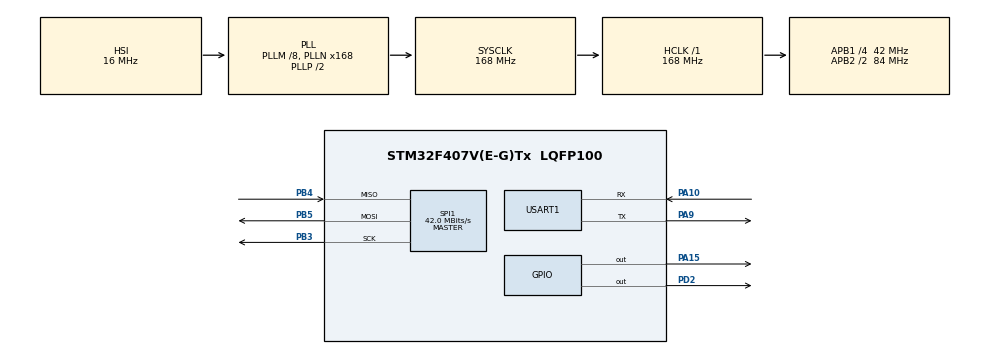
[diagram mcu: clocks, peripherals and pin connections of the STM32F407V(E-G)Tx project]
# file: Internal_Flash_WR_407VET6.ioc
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Dma.Request0=SPI1_TX
Dma.Request1=SPI1_RX
Dma.Request2=USART1_TX
Dma.SPI1_RX.1.Direction=DMA_PERIPH_TO_MEMORY
Dma.SPI1_RX.1.FIFOMode=DMA_FIFOMODE_DISABLE
Dma.SPI1_RX.1.Instance=DMA2_Stream0
Dma.SPI1_RX.1.MemDataAlignment=DMA_MDATAALIGN_BYTE
Dma.SPI1_RX.1.MemInc=DMA_MINC_ENABLE
Dma.SPI1_RX.1.Mode=DMA_NORMAL
Dma.SPI1_RX.1.PeriphDataAlignment=DMA_PDATAALIGN_BYTE
Dma.SPI1_RX.1.PeriphInc=DMA_PINC_DISABLE
Dma.SPI1_RX.1.Priority=DMA_PRIORITY_LOW
Dma.SPI1_TX.0.Direction=DMA_MEMORY_TO_PERIPH
Dma.SPI1_TX.0.FIFOMode=DMA_FIFOMODE_DISABLE
Dma.SPI1_TX.0.Instance=DMA2_Stream3
Dma.SPI1_TX.0.MemDataAlignment=DMA_MDATAALIGN_BYTE
Dma.SPI1_TX.0.MemInc=DMA_MINC_ENABLE
Dma.SPI1_TX.0.Mode=DMA_NORMAL
Dma.SPI1_TX.0.PeriphDataAlignment=DMA_PDATAALIGN_BYTE
Dma.SPI1_TX.0.PeriphInc=DMA_PINC_DISABLE
Dma.SPI1_TX.0.Priority=DMA_PRIORITY_LOW
Dma.USART1_TX.2.Direction=DMA_MEMORY_TO_PERIPH
Dma.USART1_TX.2.FIFOMode=DMA_FIFOMODE_DISABLE
Dma.USART1_TX.2.Instance=DMA2_Stream7
Dma.USART1_TX.2.MemDataAlignment=DMA_MDATAALIGN_BYTE
Dma.USART1_TX.2.MemInc=DMA_MINC_ENABLE
Dma.USART1_TX.2.Mode=DMA_NORMAL
Dma.USART1_TX.2.PeriphDataAlignment=DMA_PDATAALIGN_BYTE
Dma.USART1_TX.2.PeriphInc=DMA_PINC_DISABLE
Dma.USART1_TX.2.Priority=DMA_PRIORITY_LOW
Mcu.Family=STM32F4
Mcu.Name=STM32F407V(E-G)Tx
Mcu.Package=LQFP100
NVIC.DMA2_Stream0_IRQn=true\:0\:0\:false\:false\:true\:false\:true\:true
NVIC.DMA2_Stream3_IRQn=true\:0\:0\:false\:false\:true\:false\:true\:true
NVIC.DMA2_Stream7_IRQn=true\:0\:0\:false\:false\:true\:false\:true\:true
NVIC.PriorityGroup=NVIC_PRIORITYGROUP_4
NVIC.TIM1_UP_TIM10_IRQn=true\:0\:0\:false\:false\:true\:true\:true\:true
NVIC.USART1_IRQn=true\:0\:0\:false\:false\:true\:true\:true\:true
PA10.Mode=Asynchronous
PA10.Signal=USART1_RX
PA13.Mode=Serial_Wire
PA13.Signal=SYS_JTMS-SWDIO
PA14.Mode=Serial_Wire
PA14.Signal=SYS_JTCK-SWCLK
PA15.Signal=GPIO_Output
PA9.Mode=Asynchronous
PA9.Signal=USART1_TX
PB3.Mode=Full_Duplex_Master
PB3.Signal=SPI1_SCK
PB4.Mode=Full_Duplex_Master
PB4.Signal=SPI1_MISO
PB5.Mode=Full_Duplex_Master
PB5.Signal=SPI1_MOSI
PD2.Signal=GPIO_Output
PH0-OSC_IN.Mode=HSE-External-Oscillator
PH0-OSC_IN.Signal=RCC_OSC_IN
PH1-OSC_OUT.Mode=HSE-External-Oscillator
PH1-OSC_OUT.Signal=RCC_OSC_OUT
ProjectManager.HeapSize=0x200
ProjectManager.StackSize=0x400
ProjectManager.TargetToolchain=MDK-ARM V5.32
RCC.48MHZClocksFreq_Value=84000000
RCC.AHBFreq_Value=168000000
RCC.APB1CLKDivider=RCC_HCLK_DIV4
RCC.APB1Freq_Value=42000000
RCC.APB1TimFreq_Value=84000000
RCC.APB2CLKDivider=RCC_HCLK_DIV2
RCC.APB2Freq_Value=84000000
RCC.APB2TimFreq_Value=168000000
RCC.CortexFreq_Value=168000000
RCC.HCLKFreq_Value=168000000
RCC.HSE_VALUE=8000000
RCC.HSI_VALUE=16000000
RCC.LSE_VALUE=32768
RCC.PLLM=8
RCC.PLLN=168
RCC.SYSCLKFreq_VALUE=168000000
RCC.SYSCLKSource=RCC_SYSCLKSOURCE_PLLCLK
RCC.VCOOutputFreq_Value=336000000
SPI1.CalculateBaudRate=42.0 MBits/s
SPI1.Direction=SPI_DIRECTION_2LINES
SPI1.Mode=SPI_MODE_MASTER
SPI1.VirtualType=VM_MASTER
TIM1.Period=2000-1
TIM1.Prescaler=42000-1
USART1.VirtualMode=VM_ASYNC
VP_TIM1_VS_ClockSourceINT.Mode=Internal
board=custom

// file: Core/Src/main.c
/* USER CODE BEGIN Header */
/**
  ******************************************************************************
  * @file           : main.c
  * @brief          : Main program body
  ******************************************************************************
  * @attention
  *
  * Copyright (c) 2023 STMicroelectronics.
  * All rights reserved.
  *
  * This software is licensed under terms that can be found in the LICENSE file
  * in the root directory of this software component.
  * If no LICENSE file comes with this software, it is provided AS-IS.
  *
  ******************************************************************************
  */
/* USER CODE END Header */
#include "main.h"
#include "dma.h"
#include "spi.h"
#include "tim.h"
#include "usart.h"
#include "gpio.h"

/* USER CODE BEGIN Includes */
#include "w25Q16.h"
#include "stdio.h"
#include "flashrw.h"
#include "uppercmd.h"
int fputc(int ch, FILE *f)
{
	HAL_UART_Transmit(&huart1,(uint8_t*)&ch,1,10);
	return ch;
}
//int fputc(int ch, FILE *f)
//{
//	HAL_UART_Transmit(&huart1,(uint8_t*)&ch,1,10);
//	return ch;
//}

/* USER CODE END Includes */

void SystemClock_Config(void);

/* USER CODE BEGIN 0 */

uint8_t buffer1[256]={0};
uint8_t buffer2[256]={0};
motorData data1;
motorData data2;
motorData data3;
motorData data4;
motorData data5;

//uint8_t flag=0;
int ccc[256] ={0};
int ccc1[256] ={0};
uint16_t a=0;
uint8_t testbuffer[256]={0};
uint8_t testbuffer1[256]={0};
/*
void SPI1_DMA_TX_CpltCallback( struct __DMA_HandleTypeDef * hdma);
uint32_t 	W25QXXSector=0x00000000;
uint8_t		If_LastRecorded=1;
void writepage(uint32_t addr  , uint8_t * a )
{
	flag=0;
	W25QXX_Write_Enable();
	HAL_GPIO_WritePin(GPIOA,GPIO_PIN_15,GPIO_PIN_RESET);
	SPI1_ReadWriteByte((uint8_t)W25X_PageProgram);
	SPI1_ReadWriteByte((uint8_t)addr>>16);
	SPI1_ReadWriteByte((uint8_t)addr>>8);
	SPI1_ReadWriteByte((uint8_t)0x00);
	HAL_SPI_TransmitReceive_DMA(&hspi1 ,a ,aaa1 ,256 );
}
void DMA2_Stream3_IRQHandler()
{
	HAL_DMA_IRQHandler(&hdma_spi1_tx);
	if(__HAL_DMA_GET_IT_SOURCE(&hdma_spi1_rx, DMA_IT_TC)){
		W25QXX_Wait_Busy();
		W25QXX_Erase_Sector(W25QXXSector);
		HAL_GPIO_WritePin(GPIOA, GPIO_PIN_15, GPIO_PIN_SET);
  }
}

uint8_t* Thanslate(motorData* data1 , uint8_t* buffer ,uint8_t number)
{
	buffer[47*number+1]=data1->run_state;
	buffer[47*number+2]=data1->dir;
	buffer[47*number+3]=data1->number;

		buffer[47*number+4]=data1->step_position%0x100;
		buffer[47*number+5]=(data1->step_position%0x10000)>>8;
		buffer[47*number+6]=(data1->step_position%0x1000000)>>16;
		buffer[47*number+7]=(data1->step_position>>24);

	buffer[47*number+8]=data1->motion_sta;

		buffer[47*number+9]=data1->g_add_pulse_count%0xff;
		buffer[47*number+10]=(data1->g_add_pulse_count%0xffff)>>8;
		buffer[47*number+11]=(data1->g_add_pulse_count%0x1000000)>>16;
		buffer[47*number+12]=(data1->g_add_pulse_count>>24);

		buffer[47*number+13]=data1->step_delay%0x100;
		buffer[47*number+14]=(data1->step_delay%0x10000)>>8;
		buffer[47*number+15]=(data1->step_delay%0x1000000)>>16;
		buffer[47*number+16]=(data1->step_delay>>24);

		buffer[47*number+17]=data1->decel_start%0x100;
		buffer[47*number+18]=(data1->decel_start%0x10000)>>8;
		buffer[47*number+19]=(data1->decel_start%0x1000000)>>16;
		buffer[47*number+20]=(data1->decel_start>>24);

		buffer[47*number+21]=data1->decel_val%0x100;
		buffer[47*number+22]=(data1->decel_val%0x10000)>>8;
		buffer[47*number+23]=(data1->decel_val%0x1000000)>>16;
		buffer[47*number+24]=(data1->decel_val>>24);

		buffer[47*number+25]=data1->accel_count%0x100;
		buffer[47*number+26]=(data1->accel_count%0x10000)>>8;
		buffer[47*number+27]=(data1->accel_count%0x1000000)>>16;
		buffer[47*number+28]=(data1->accel_count>>24);

		buffer[47*number+29]=data1->round_amp%0x100;
		buffer[47*number+30]=(data1->round_amp%0x10000)>>8;
		buffer[47*number+31]=(data1->round_amp%0x1000000)>>16;
		buffer[47*number+32]=(data1->round_amp>>24);

		buffer[47*number+33]=(data1->round_step%0x100);
		buffer[47*number+34]=(data1->round_step%0x10000)>>8;
		buffer[47*number+35]=(data1->round_step%0x1000000)>>16;
		buffer[47*number+36]=(data1->round_step>>24);

	buffer[47*number+37]=data1->last_accel_delay%0x100;
	buffer[47*number+38]=data1->last_accel_delay/0xff;

		buffer[47*number+39]=data1->step_count%0x100;
		buffer[47*number+40]=(data1->step_count%0x10000)>>8;
		buffer[47*number+41]=(data1->step_count%0x1000000)>>16;
		buffer[47*number+42]=(data1->step_count>>24);

		buffer[47*number+43]=data1->rest%0x100;
		buffer[47*number+44]=(data1->rest%0x10000)>>8;
		buffer[47*number+45]=(data1->rest%0x1000000)>>16;
		buffer[47*number+46]=(data1->rest>>24);

	buffer[47*number+47]=data1->int_count;
	return buffer;
}
uint8_t* Translation(motorData* data1 , uint8_t* buffer ,uint8_t number)
{
	data1->run_state=buffer[47*number+1];
	data1->dir=buffer[47*number+2];
	data1->number=buffer[47*number+3];

		data1->step_position=buffer[47*number+4];
		data1->step_position+=buffer[47*number+5]<<8;
		data1->step_position+=buffer[47*number+6]<<16;
		data1->step_position+=buffer[47*number+7]<<24;

	data1->motion_sta=buffer[47*number+8];

		data1->g_add_pulse_count=buffer[47*number+9];
		data1->g_add_pulse_count+=buffer[47*number+10]<<8;
		data1->g_add_pulse_count+=buffer[47*number+11]<<16;
		data1->g_add_pulse_count+=buffer[47*number+12]<<24;

		data1->step_delay=buffer[47*number+13];
		data1->step_delay+=buffer[47*number+14]<<8;
		data1->step_delay+=buffer[47*number+15]<<16;
		data1->step_delay+=buffer[47*number+16]<<24;

		data1->decel_start=buffer[47*number+17];
		data1->decel_start+=buffer[47*number+18]<<8;
		data1->decel_start+=buffer[47*number+19]<<16;
		data1->decel_start+=buffer[47*number+20]<<24;

		data1->decel_val=buffer[47*number+21];
		data1->decel_val+=buffer[47*number+22]<<8;
		data1->decel_val+=buffer[47*number+23]<<16;
		data1->decel_val+=buffer[47*number+24]<<24;

		data1->accel_count=buffer[47*number+25];
		data1->accel_count+=buffer[47*number+26]<<8;
		data1->accel_count+=buffer[47*number+27]<<16;
		data1->accel_count+=buffer[47*number+28]<<24;

		data1->round_amp=buffer[47*number+29];
		data1->round_amp+=buffer[47*number+30]<<8;
		data1->round_amp+=buffer[47*number+31]<<16;
		data1->round_amp+=buffer[47*number+32]<<24;

		data1->round_step=buffer[47*number+33];
		data1->round_step+=buffer[47*number+34]<<8;
		data1->round_step+=buffer[47*number+35]<<16;
		data1->round_step+=buffer[47*number+36]<<24;

	data1->last_accel_delay=buffer[47*number+37];
	data1->last_accel_delay+=buffer[47*number+38]<<8;

		data1->step_count=buffer[47*number+39];
		data1->step_count+=buffer[47*number+40]<<8;
		data1->step_count+=buffer[47*number+41]<<16;
		data1->step_count+=buffer[47*number+42]<<24;

		data1->rest=buffer[47*number+43];
		data1->rest+=buffer[47*number+44]<<8;
		data1->rest+=buffer[47*number+45]<<16;
		data1->rest+=buffer[47*number+46]<<24;

data1->int_count =	buffer[47*number+47];
	return buffer;
}

void SaveData(motorData* M1 ,motorData* M2 , motorData* M3 , motorData* M4 , motorData* M5 , uint8_t* buffer)
{
		Thanslate(M1 , buffer ,0);
		Thanslate(M2 , buffer ,1);
		Thanslate(M3 , buffer ,2);
		Thanslate(M4 , buffer ,3);
		Thanslate(M5 , buffer ,4);
		buffer[255]=0x01;
		W25QXX_Wait_Busy();
		writepage(W25QXXSector , buffer);
		if(W25QXXSector)
		{
			W25QXXSector=0;
		}
		else
		{
			W25QXXSector=0x00000100;
		}
}

void  GetData(motorData* M1 ,motorData* M2 , motorData* M3 , motorData* M4 , motorData* M5 , uint8_t* buffer)
{
	W25QXX_Wait_Busy();
	W25QXX_Read(buffer , 0x00000000 , 256);
	if(buffer[255]==0x01)
	{
		W25QXXSector=0x00000100;//从另一扇开始写
	}
	else
	{
		W25QXX_Read(buffer , 0x00000100 , 256);
		if(buffer[255]!=0x01)
		{
			If_LastRecorded=0;
		}
		W25QXXSector=0x00000000;//从这一扇开始写
	}
	if(If_LastRecorded)//之前有记录，否则不会记录
	{
		Translation(M1 , buffer , 0);
		Translation(M2 , buffer , 1);
		Translation(M3 , buffer , 2);
		Translation(M4 , buffer , 3);
		Translation(M5 , buffer , 4);
	}
}

*/
//----------------------------------------------------------------------------//

/* USER CODE END 0 */

int main(void)
{

  /* MCU Configuration--------------------------------------------------------*/

  /* Reset of all peripherals, Initializes the Flash interface and the Systick. */
  HAL_Init();

  /* Configure the system clock */
  SystemClock_Config();

  /* Initialize all configured peripherals */
  MX_GPIO_Init();
  MX_USART1_UART_Init();
  MX_DMA_Init();
  MX_SPI1_Init();
  MX_TIM1_Init();
  /* USER CODE BEGIN 2 */
	HAL_TIM_Base_Start_IT(&htim1);
	data1.accel_count=10;
	data1.decel_start=1;
	data1.decel_val =2;
	data1.dir =3;
	data1.g_add_pulse_count =100;
	data1.int_count =10;
	data1.min_delay =30;
	data1.step_delay =22;
	data1.decel_val=-10;
	data1.int_count=0xf2;
	data1.round_amp=0xef;
	data1.round_step=0xaf;
	data1.last_accel_delay=0xfa;
	data1.run_state=0x33;

	UpperInit();

  /* USER CODE END 2 */

  /* Infinite loop */
  /* USER CODE BEGIN WHILE */

	float aa=1.4143;
	float bb=1.4423;
	float c=0;
	long int i=0;

	W25QXX_Erase_Chip();
//	W25QXX_Erase_Sector(0x00000000);
//W25QXX_Erase_Sector(0x00000100);

//	writepage(0,0,(uint8_t*)(&data1));

	SaveData((&data1) ,(&data1) ,(&data1) ,(&data1) ,(&data1) ,buffer1);

	HAL_Delay(1000);
	//W25QXX_Wait_Busy();
	GetData((&data1) ,(&data2) ,(&data3) ,(&data4) ,(&data5) ,buffer2);
	printf("\r\n");
	for(int i=0 ;i<5 ; i++)
	{
		for(int j=0 ; j<47 ;j++)
		{
			printf("%.2x" , *(buffer1+47*i+j));	printf("  ");
		}
		printf("\r\n");
	}
		printf("\r\n");
		printf("\r\n");
		printf("\r\n");
	for(int i=0 ;i<5 ; i++)
	{
		for(int j=0 ; j<47 ;j++)
		{
			printf("%.2x" , *(buffer2+47*i+j));printf("  ");

		}
		printf("\r\n");
	}
  while (1)
  {
    /* USER CODE END WHILE */

  }
}

void SystemClock_Config(void)
{
  RCC_OscInitTypeDef RCC_OscInitStruct = {0};
  RCC_ClkInitTypeDef RCC_ClkInitStruct = {0};

  /** Configure the main internal regulator output voltage
  */
  __HAL_RCC_PWR_CLK_ENABLE();
  __HAL_PWR_VOLTAGESCALING_CONFIG(PWR_REGULATOR_VOLTAGE_SCALE1);

  /** Initializes the RCC Oscillators according to the specified parameters
  * in the RCC_OscInitTypeDef structure.
  */
  RCC_OscInitStruct.OscillatorType = RCC_OSCILLATORTYPE_HSI;
  RCC_OscInitStruct.HSIState = RCC_HSI_ON;
  RCC_OscInitStruct.HSICalibrationValue = RCC_HSICALIBRATION_DEFAULT;
  RCC_OscInitStruct.PLL.PLLState = RCC_PLL_ON;
  RCC_OscInitStruct.PLL.PLLSource = RCC_PLLSOURCE_HSI;
  RCC_OscInitStruct.PLL.PLLM = 8;
  RCC_OscInitStruct.PLL.PLLN = 168;
  RCC_OscInitStruct.PLL.PLLP = RCC_PLLP_DIV2;
  RCC_OscInitStruct.PLL.PLLQ = 4;
  if (HAL_RCC_OscConfig(&RCC_OscInitStruct) != HAL_OK)
  {
    Error_Handler();
  }

  /** Initializes the CPU, AHB and APB buses clocks
  */
  RCC_ClkInitStruct.ClockType = RCC_CLOCKTYPE_HCLK|RCC_CLOCKTYPE_SYSCLK
                              |RCC_CLOCKTYPE_PCLK1|RCC_CLOCKTYPE_PCLK2;
  RCC_ClkInitStruct.SYSCLKSource = RCC_SYSCLKSOURCE_PLLCLK;
  RCC_ClkInitStruct.AHBCLKDivider = RCC_SYSCLK_DIV1;
  RCC_ClkInitStruct.APB1CLKDivider = RCC_HCLK_DIV4;
  RCC_ClkInitStruct.APB2CLKDivider = RCC_HCLK_DIV2;

  if (HAL_RCC_ClockConfig(&RCC_ClkInitStruct, FLASH_LATENCY_5) != HAL_OK)
  {
    Error_Handler();
  }
}

/* USER CODE BEGIN 4 */
void HAL_TIM_PeriodElapsedCallback(TIM_HandleTypeDef *htim)
{
    static unsigned char ledState = 0;
    if (htim == (&htim1))
    {
        if (ledState == 0)
            HAL_GPIO_WritePin(GPIOA,GPIO_PIN_1,GPIO_PIN_RESET);
        else
            HAL_GPIO_WritePin(GPIOA,GPIO_PIN_1,GPIO_PIN_SET);
        ledState = !ledState;
    }
}
//void DMA2_Stream3_IRQHandler()
//{
//	HAL_DMA_IRQHandler(&hdma_spi1_tx);
//	if(__HAL_DMA_GET_IT_SOURCE(&hdma_spi1_rx, DMA_IT_TC)){
//		HAL_GPIO_WritePin(GPIOA, GPIO_PIN_15, GPIO_PIN_SET);
//  }
//}

void SPI1_DMA_TX_CpltCallback( struct __DMA_HandleTypeDef * hdma)
{
	HAL_GPIO_WritePin(GPIOA,GPIO_PIN_15,GPIO_PIN_SET);
}

/* USER CODE END 4 */

void Error_Handler(void)
{
  __disable_irq();
  while (1)
  {
  }
}
